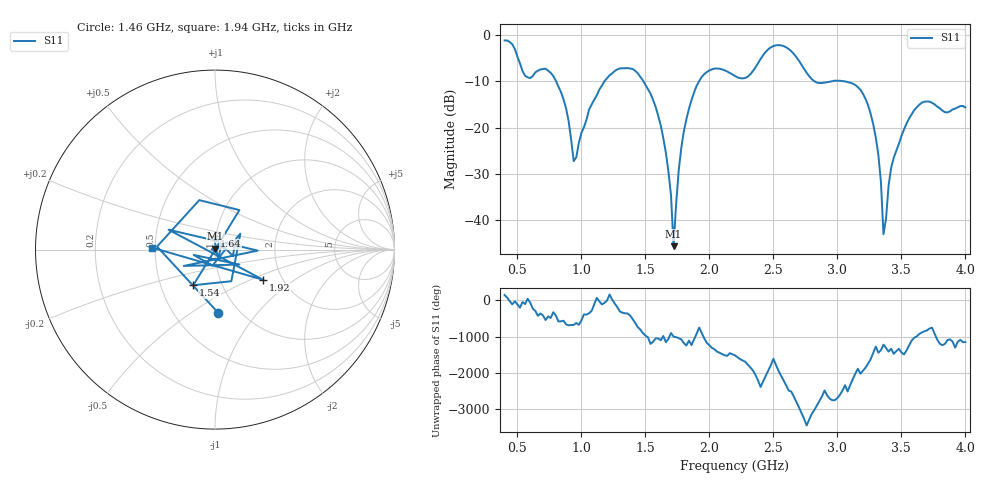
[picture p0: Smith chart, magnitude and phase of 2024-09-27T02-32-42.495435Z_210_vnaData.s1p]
!Created with skrf (http://scikit-rf.org).
# Hz S RI R 50.0
!freq ReS11 ImS11
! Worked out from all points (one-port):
!   181 points, 400 MHz to 4 GHz, reference 50 ohm
!   lowest |S11| = -45.6 dB at 1.72 GHz (marker M1), VSWR 1.01, Z = 50.1 + j0.512 ohm
!   |S11| at or under -10 dB: 801.9 MHz to 1.18 GHz (377.8 MHz wide, 38.1 % of centre); 1.484 GHz to 1.92 GHz (435.7 MHz wide, 25.6 % of centre); 3.049 GHz to end of sweep (the widest 3 of 4)
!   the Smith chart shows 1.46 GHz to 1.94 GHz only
!   S11 on the Smith chart (normalised r, x): 1.46 GHz: 0.80, -0.65; 1.54 GHz: 0.73, -0.31; 1.64 GHz: 0.98, +0.15; 1.92 GHz: 1.60, -0.60; 1.94 GHz: 0.48, +0.01
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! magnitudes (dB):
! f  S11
! 400 MHz  -1.2
! 560 MHz  -8.8
! 720 MHz  -7.3
! 860 MHz  -13.9
! 940 MHz  -27.3
! 1.06 GHz  -16.1
! 1.3 GHz  -7.2
! 1.46 GHz  -9.0
! 1.54 GHz  -12.7
! 1.64 GHz  -22.3
! 1.7 GHz  -34.6
! 1.72 GHz  -45.6
! 1.76 GHz  -29.4
! 1.82 GHz  -18.2
! 1.92 GHz  -10.0
! 1.94 GHz  -9.1
! 2.2 GHz  -8.9
! 2.5 GHz  -2.4
! 2.66 GHz  -4.1
! 2.84 GHz  -10.3
! 3.1 GHz  -10.3
! 3.28 GHz  -19.3
! 3.34 GHz  -31.7
! 3.36 GHz  -43.1
! 3.42 GHz  -28.7
! 3.56 GHz  -18.1
! 3.68 GHz  -14.4
! 4 GHz  -15.7
